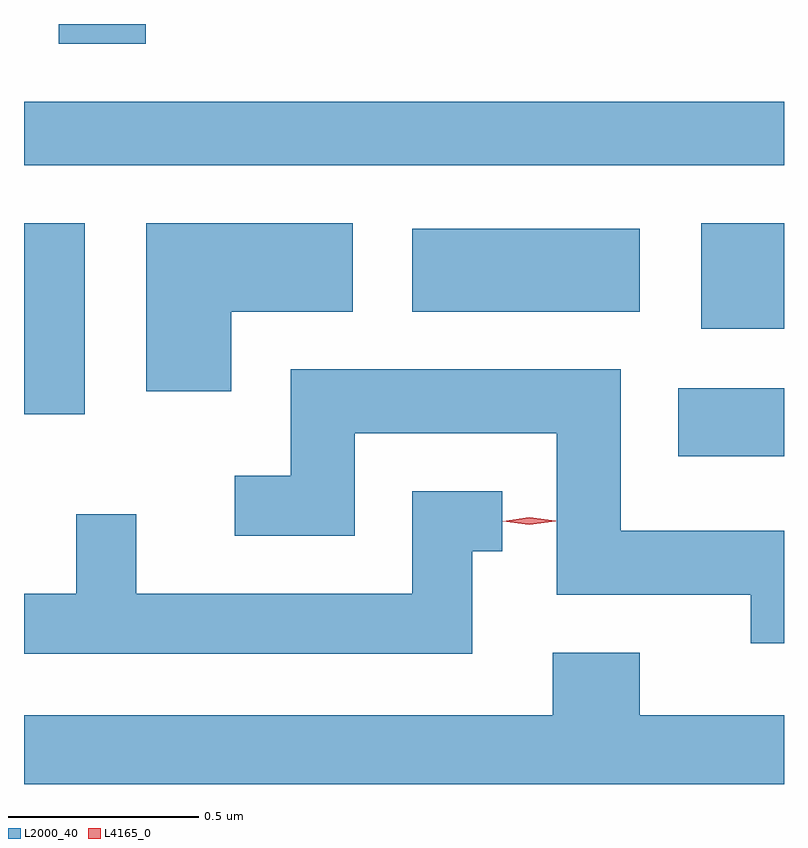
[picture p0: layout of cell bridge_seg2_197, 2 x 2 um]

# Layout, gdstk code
import gdstk
lib = gdstk.Library(unit=1e-6, precision=1e-09)
def R(c, l, rs):  # rectangles x0, y0, x1, y1
    for r in rs: c.add(gdstk.rectangle(r[:2], r[2:], *l))
def P(c, l, *ps):  # polygons
    for p in ps: c.add(gdstk.Polygon(p, *l))
L2000_40 = (2000, 40)
L4165_0 = (4165, 0)

bridge_seg2_197 = lib.new_cell('bridge_seg2_197')
R(bridge_seg2_197, L2000_40, [(679.991,1035.946,680.269,1036.124), (678.269,1036.056,678.429,1036.559), (680.051,1036.281,680.269,1036.559), (679.291,1036.326,679.889,1036.544), (678.269,1036.711,680.269,1036.879), (678.361,1037.031,678.589,1037.083)])
P(bridge_seg2_197, L2000_40, [(678.814,1036.326),(679.134,1036.326),(679.134,1036.559),(678.591,1036.559),(678.591,1036.116),(678.814,1036.116)],
  [(680.269,1035.749),(679.839,1035.749),(679.839,1036.174),(678.971,1036.174),(678.971,1035.894),(678.823,1035.894),(678.823,1035.736),(679.139,1035.736),(679.139,1036.006),(679.671,1036.006),(679.671,1035.581),(680.181,1035.581),(680.181,1035.453),(680.269,1035.453)],
  [(679.449,1035.696),(679.528,1035.696),(679.528,1035.854),(679.291,1035.854),(679.291,1035.584),(678.564,1035.584),(678.564,1035.793),(678.406,1035.793),(678.406,1035.584),(678.269,1035.584),(678.269,1035.426),(679.449,1035.426)],
  [(680.269,1035.264),(679.889,1035.264),(679.889,1035.429),(679.661,1035.429),(679.661,1035.264),(678.269,1035.264),(678.269,1035.083),(680.269,1035.083)])
P(bridge_seg2_197, L4165_0, [(679.598,1035.765),(679.529,1035.774),(679.529,1035.775),(679.529,1035.775),(679.598,1035.785),(679.668,1035.776),(679.668,1035.776),(679.668,1035.775)])

lib.write_gds('bridge_seg2_197.gds')
